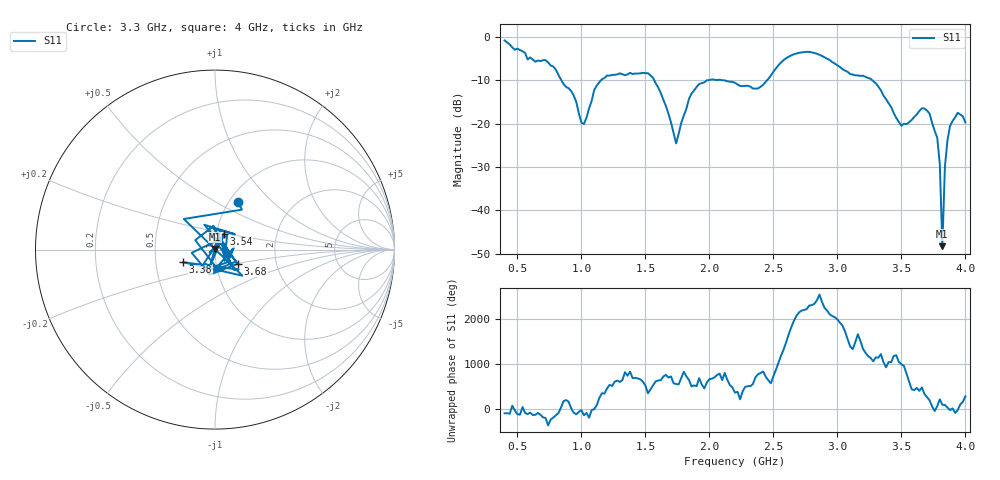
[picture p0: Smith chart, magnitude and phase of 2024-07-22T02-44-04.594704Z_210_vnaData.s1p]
!Created with skrf (http://scikit-rf.org).
# Hz S RI R 50.0
!freq ReS11 ImS11
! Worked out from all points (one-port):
!   181 points, 400 MHz to 4 GHz, reference 50 ohm
!   lowest |S11| = -48.3 dB at 3.82 GHz (marker M1), VSWR 1.01, Z = 50 + j0.385 ohm
!   |S11| at or under -10 dB: 1.57 GHz to 1.978 GHz (408.8 MHz wide, 23 % of centre); 2.122 GHz to 2.45 GHz (327.8 MHz wide, 14.3 % of centre); 3.274 GHz to end of sweep (the widest 3 of 4)
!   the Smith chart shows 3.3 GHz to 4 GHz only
!   S11 on the Smith chart (normalised r, x): 3.3 GHz: 1.10, +0.64; 3.38 GHz: 0.69, -0.10; 3.54 GHz: 1.08, +0.19; 3.68 GHz: 1.28, -0.20; 4 GHz: 1.00, -0.21
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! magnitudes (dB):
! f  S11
! 400 MHz  -0.8
! 720 MHz  -5.3
! 860 MHz  -10.8
! 1.02 GHz  -20.1
! 1.12 GHz  -11.2
! 1.3 GHz  -8.4
! 1.56 GHz  -9.4
! 1.74 GHz  -24.5
! 1.76 GHz  -22.3
! 1.84 GHz  -14.3
! 1.92 GHz  -10.8
! 2.2 GHz  -10.5
! 2.38 GHz  -11.8
! 2.66 GHz  -4.0
! 2.84 GHz  -3.8
! 3.1 GHz  -8.5
! 3.3 GHz  -10.7
! 3.38 GHz  -14.3
! 3.54 GHz  -20.1
! 3.56 GHz  -19.6
! 3.68 GHz  -16.5
! 3.78 GHz  -23.2
! 3.8 GHz  -29.3
! 3.82 GHz  -48.3
! 3.84 GHz  -29.9
! 3.88 GHz  -20.5
! 3.94 GHz  -17.5
! 4 GHz  -19.7
